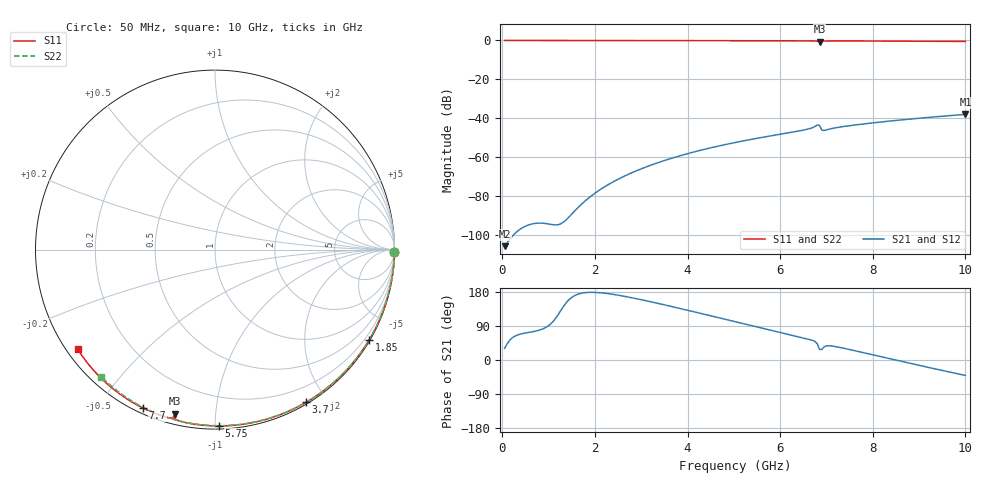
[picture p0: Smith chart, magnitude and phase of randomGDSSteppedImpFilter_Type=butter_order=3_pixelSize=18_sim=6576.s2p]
! freq	dB(S11)	phase(S11)	dB(S12)	phase(S12)
!  dB(S21)	phase(S21)	dB(S22)	phase(S22)
!S-par simulation data
#  GHz  S  DB  R 50
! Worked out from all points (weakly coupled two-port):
!   200 points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, 50 MHz to 10 GHz, reference 50 ohm
!   highest |S21| = -37.90 dB at 10 GHz (marker M1); lowest = -105.5 dB at 50 MHz (marker M2)
!   lowest |S11| = -0.5 dB at 6.85 GHz (marker M3), VSWR 32.16, Z = 2.51 - j39.3 ohm
!   |S11| at or under -10 dB: nowhere
!   |S22| runs from -0.4 to 0.0 dB; largest |S21 - S12| = 0
!   S11 on the Smith chart (normalised r, x): 50 MHz: open; 1.85 GHz: 0.03, -3.69; 3.7 GHz: 0.02, -1.76; 5.75 GHz: 0.02, -1.02; 7.7 GHz: 0.02, -0.64; 10 GHz: 0.03, -0.32
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0.05  -0.00 -0.8  -105.51 30.9  -105.51 30.9  -0.00 -0.8
0.9  -0.02 -14.9  -93.79 83.4  -93.79 83.4  -0.02 -13.6
1.75  -0.04 -28.7  -83.13 177.1  -83.13 177.1  -0.03 -26.3
1.85  -0.04 -30.3  -81.09 178.4  -81.09 178.4  -0.04 -27.8
1.9  -0.04 -31.1  -80.14 178.6  -80.14 178.6  -0.04 -28.5
2.25  -0.05 -36.7  -74.47 175.7  -74.47 175.7  -0.04 -33.6
2.6  -0.05 -42.2  -70.00 168.9  -70.00 168.9  -0.05 -38.7
3.4  -0.07 -54.6  -62.37 148.4  -62.37 148.4  -0.07 -50.0
3.7  -0.08 -59.1  -60.10 139.9  -60.10 139.9  -0.07 -54.2
4.35  -0.10 -68.8  -55.93 121.1  -55.93 121.1  -0.09 -63.1
5.05  -0.12 -78.9  -52.24 100.5  -52.24 100.5  -0.11 -72.4
5.75  -0.15 -88.7  -49.13 79.9  -49.13 79.9  -0.14 -81.5
6.45  -0.19 -98.4  -46.24 59.7  -46.24 59.7  -0.17 -90.3
6.7  -0.22 -102.1  -44.73 51.9  -44.73 51.9  -0.18 -93.3
6.8  -0.35 -103.9  -43.35 43.1  -43.35 43.1  -0.18 -94.6
6.85  -0.54 -103.6  -43.59 28.1  -43.59 28.1  -0.19 -95.2
6.9  -0.39 -103.1  -45.92 27.8  -45.92 27.8  -0.19 -95.8
6.95  -0.29 -103.9  -46.17 34.8  -46.17 34.8  -0.19 -96.4
7.2  -0.24 -107.7  -44.78 35.3  -44.78 35.3  -0.21 -99.4
7.7  -0.27 -114.4  -43.10 22.0  -43.10 22.0  -0.24 -105.4
8.35  -0.32 -122.7  -41.38 3.8  -41.38 3.8  -0.29 -113.0
10  -0.49 -144.0  -37.90 -40.7  -37.90 -40.7  -0.45 -131.9
